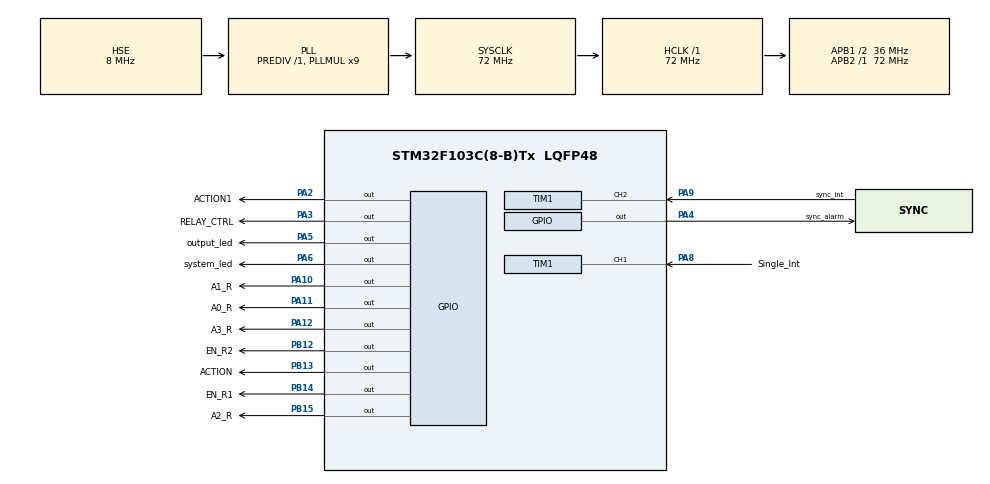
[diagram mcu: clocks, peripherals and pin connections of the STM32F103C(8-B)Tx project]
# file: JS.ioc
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Mcu.Family=STM32F1
Mcu.Name=STM32F103C(8-B)Tx
Mcu.Package=LQFP48
NVIC.PriorityGroup=NVIC_PRIORITYGROUP_4
NVIC.TIM1_CC_IRQn=true\:0\:0\:false\:false\:true\:true\:true\:true
NVIC.TIM1_UP_IRQn=true\:0\:0\:false\:false\:true\:true\:true\:true
NVIC.TIM2_IRQn=true\:0\:0\:false\:false\:true\:true\:true\:true
PA10.GPIO_Label=A1_R
PA10.GPIO_ModeDefaultOutputPP=GPIO_MODE_OUTPUT_OD
PA10.GPIO_PuPd=GPIO_NOPULL
PA10.GPIO_Speed=GPIO_SPEED_FREQ_HIGH
PA10.Signal=GPIO_Output
PA11.GPIO_Label=A0_R
PA11.GPIO_ModeDefaultOutputPP=GPIO_MODE_OUTPUT_OD
PA11.GPIO_PuPd=GPIO_NOPULL
PA11.GPIO_Speed=GPIO_SPEED_FREQ_HIGH
PA11.Signal=GPIO_Output
PA12.GPIO_Label=A3_R
PA12.GPIO_ModeDefaultOutputPP=GPIO_MODE_OUTPUT_OD
PA12.GPIO_PuPd=GPIO_NOPULL
PA12.GPIO_Speed=GPIO_SPEED_FREQ_HIGH
PA12.Signal=GPIO_Output
PA13.Mode=Serial_Wire
PA13.Signal=SYS_JTMS-SWDIO
PA14.Mode=Serial_Wire
PA14.Signal=SYS_JTCK-SWCLK
PA2.GPIO_Label=ACTION1
PA2.GPIO_Speed=GPIO_SPEED_FREQ_HIGH
PA2.Signal=GPIO_Output
PA3.GPIO_Label=RELAY_CTRL
PA3.GPIO_Speed=GPIO_SPEED_FREQ_HIGH
PA3.Signal=GPIO_Output
PA4.GPIO_Label=sync_alarm
PA4.GPIO_ModeDefaultOutputPP=GPIO_MODE_OUTPUT_PP
PA4.GPIO_PuPd=GPIO_PULLUP
PA4.GPIO_Speed=GPIO_SPEED_FREQ_HIGH
PA4.PinState=GPIO_PIN_SET
PA4.Signal=GPIO_Output
PA5.GPIO_Label=output_led
PA5.GPIO_Speed=GPIO_SPEED_FREQ_HIGH
PA5.PinState=GPIO_PIN_SET
PA5.Signal=GPIO_Output
PA6.GPIO_Label=system_led
PA6.GPIO_PuPd=GPIO_PULLUP
PA6.GPIO_Speed=GPIO_SPEED_FREQ_HIGH
PA6.PinState=GPIO_PIN_SET
PA6.Signal=GPIO_Output
PA8.GPIO_Label=Single_Int
PA8.Signal=S_TIM1_CH1
PA9.GPIO_Label=sync_int
PA9.Signal=S_TIM1_CH2
PB12.GPIO_Label=EN_R2
PB12.GPIO_ModeDefaultOutputPP=GPIO_MODE_OUTPUT_OD
PB12.GPIO_PuPd=GPIO_NOPULL
PB12.GPIO_Speed=GPIO_SPEED_FREQ_HIGH
PB12.Signal=GPIO_Output
PB13.GPIO_Label=ACTION
PB13.GPIO_Speed=GPIO_SPEED_FREQ_HIGH
PB13.Signal=GPIO_Output
PB14.GPIO_Label=EN_R1
PB14.GPIO_ModeDefaultOutputPP=GPIO_MODE_OUTPUT_OD
PB14.GPIO_PuPd=GPIO_NOPULL
PB14.GPIO_Speed=GPIO_SPEED_FREQ_HIGH
PB14.Signal=GPIO_Output
PB15.GPIO_Label=A2_R
PB15.GPIO_ModeDefaultOutputPP=GPIO_MODE_OUTPUT_OD
PB15.GPIO_PuPd=GPIO_NOPULL
PB15.GPIO_Speed=GPIO_SPEED_FREQ_HIGH
PB15.Signal=GPIO_Output
PD0-OSC_IN.Mode=HSE-External-Oscillator
PD0-OSC_IN.Signal=RCC_OSC_IN
PD1-OSC_OUT.Mode=HSE-External-Oscillator
PD1-OSC_OUT.Signal=RCC_OSC_OUT
ProjectManager.HeapSize=0x200
ProjectManager.StackSize=0x400
ProjectManager.TargetToolchain=MDK-ARM V5.32
RCC.AHBFreq_Value=72000000
RCC.APB1CLKDivider=RCC_HCLK_DIV2
RCC.APB1Freq_Value=36000000
RCC.APB1TimFreq_Value=72000000
RCC.APB2Freq_Value=72000000
RCC.APB2TimFreq_Value=72000000
RCC.HCLKFreq_Value=72000000
RCC.PLLMUL=RCC_PLL_MUL9
RCC.PLLSourceVirtual=RCC_PLLSOURCE_HSE
RCC.SYSCLKFreq_VALUE=72000000
RCC.SYSCLKSource=RCC_SYSCLKSOURCE_PLLCLK
RCC.USBFreq_Value=72000000
SH.S_TIM1_CH1.0=TIM1_CH1,Input_Capture1_from_TI1
SH.S_TIM1_CH2.0=TIM1_CH2,Input_Capture2_from_TI2
TIM1.AutoReloadPreload=TIM_AUTORELOAD_PRELOAD_ENABLE
TIM1.Channel-Input_Capture1_from_TI1=TIM_CHANNEL_1
TIM1.Channel-Input_Capture2_from_TI2=TIM_CHANNEL_2
TIM1.Prescaler=72-1
TIM2.AutoReloadPreload=TIM_AUTORELOAD_PRELOAD_ENABLE
TIM2.CounterMode=TIM_COUNTERMODE_UP
TIM2.Prescaler=72-1
VP_TIM1_VS_ClockSourceINT.Mode=Internal
VP_TIM2_VS_ClockSourceINT.Mode=Internal
board=custom

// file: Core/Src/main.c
/* USER CODE BEGIN Header */
/**
 ******************************************************************************
 * @file           : main.c
 * @brief          : Main program body
 ******************************************************************************
 * @attention
 *
 * Copyright (c) 2024 STMicroelectronics.
 * All rights reserved.
 *
 * This software is licensed under terms that can be found in the LICENSE file
 * in the root directory of this software component.
 * If no LICENSE file comes with this software, it is provided AS-IS.
 *
 ******************************************************************************
 */
/* USER CODE END Header */
#include "main.h"
#include "tim.h"
#include "gpio.h"

void SystemClock_Config(void);

/* USER CODE BEGIN 0 */
/*同步信号*/
extern uint32_t Sync_capture_Buf[3]; // 存放计数值
extern uint8_t Sync_Cnt;             // 状态标志位
extern uint32_t Sync_high_time;      // 高电平时间

/*检测信号*/
extern uint32_t Signal_capture_Buf[3]; // 存放计数值
extern uint8_t Signal_Cnt;             // 状态标志位
extern uint32_t Signal_high_time;      // 高电平时间

float time;
float count = 0;
extern uint32_t duration;

extern uint16_t up_edge_cnt;
uint8_t count_flag = 0;

uint8_t i = 1;
extern __IO uint32_t uDelayValue;

static uint32_t fac_us = 0;
void EN_R1_open(void);
void EN_R2_open(void);
void delay_us(uint32_t us);

void EN_R1_R2_close(void);
/* USER CODE END 0 */

int main(void)
{

  /* MCU Configuration--------------------------------------------------------*/

  /* Reset of all peripherals, Initializes the Flash interface and the Systick. */
  HAL_Init();

  /* Configure the system clock */
  SystemClock_Config();

  /* Initialize all configured peripherals */
  MX_GPIO_Init();
  MX_TIM1_Init();
  MX_TIM2_Init();
  /* USER CODE BEGIN 2 */
  //	HAL_TIM_IC_Start_IT(&htim1,TIM_CHANNEL_2);
  HAL_TIM_Base_Start(&htim2);

  /* USER CODE END 2 */

  /* Infinite loop */
  /* USER CODE BEGIN WHILE */
  while (1)
  {
    //		HAL_GPIO_TogglePin(EN_R1_GPIO_Port,EN_R1_Pin);
    //		delay_us(100);
    //	EN_R1_open();
    //		delay_us(10);
    //		EN_R2_open();
    //		delay_us(10);
    switch (Sync_Cnt)
    {
    case 0:
      Sync_Cnt++;
      __HAL_TIM_SET_CAPTUREPOLARITY(&htim1, TIM_CHANNEL_2, TIM_INPUTCHANNELPOLARITY_RISING);
      HAL_TIM_IC_Start_IT(&htim1, TIM_CHANNEL_2); // 启动输入捕获       或者: __HAL_TIM_ENABLE(&htim5);
      break;
    case 3:
      if (Sync_capture_Buf[1] < Sync_capture_Buf[0])
      { // 不存在先捕获高电平后捕获低电平capture_Buf[1]<capture_Buf[0],肯定是有了溢出
        Sync_high_time = 0xC350 + Sync_capture_Buf[1] - Sync_capture_Buf[0];
      }
      else
      {
        Sync_high_time = Sync_capture_Buf[1] - Sync_capture_Buf[0]; // 高电平时间
      }

      Sync_Cnt = 0;
      if (Sync_high_time == 0x1B)
      {
        Sync_Cnt = 5;
        // count_flag=1;
        EN_R1_open();
        delay_us(1); // 延时一微秒后进行切换
        for (i = 1; i <= 16; i++)
        {

          Channel_Sel(i);
          delay_us(8);
          if (i == 8)
          {
            EN_R2_open();
          }
          if (i == 16)
          {
            EN_R1_R2_close();
            Sync_Cnt = 0;
          }
        }
        //		up_edge_cnt=0;
        //		__HAL_TIM_SET_CAPTUREPOLARITY(&htim1, TIM_CHANNEL_2, TIM_INPUTCHANNELPOLARITY_RISING);
        //		HAL_TIM_IC_Start_IT(&htim1, TIM_CHANNEL_2);
      }
      break;
    }
    //	HAL_GPIO_TogglePin(GPIOA,GPIO_PIN_11);
    //	delay_us(10);
  }
  /* USER CODE END WHILE */

}

void SystemClock_Config(void)
{
  RCC_OscInitTypeDef RCC_OscInitStruct = {0};
  RCC_ClkInitTypeDef RCC_ClkInitStruct = {0};

  /** Initializes the RCC Oscillators according to the specified parameters
   * in the RCC_OscInitTypeDef structure.
   */
  RCC_OscInitStruct.OscillatorType = RCC_OSCILLATORTYPE_HSE;
  RCC_OscInitStruct.HSEState = RCC_HSE_ON;
  RCC_OscInitStruct.HSEPredivValue = RCC_HSE_PREDIV_DIV1;
  RCC_OscInitStruct.HSIState = RCC_HSI_ON;
  RCC_OscInitStruct.PLL.PLLState = RCC_PLL_ON;
  RCC_OscInitStruct.PLL.PLLSource = RCC_PLLSOURCE_HSE;
  RCC_OscInitStruct.PLL.PLLMUL = RCC_PLL_MUL9;
  if (HAL_RCC_OscConfig(&RCC_OscInitStruct) != HAL_OK)
  {
    Error_Handler();
  }

  /** Initializes the CPU, AHB and APB buses clocks
   */
  RCC_ClkInitStruct.ClockType = RCC_CLOCKTYPE_HCLK | RCC_CLOCKTYPE_SYSCLK | RCC_CLOCKTYPE_PCLK1 | RCC_CLOCKTYPE_PCLK2;
  RCC_ClkInitStruct.SYSCLKSource = RCC_SYSCLKSOURCE_PLLCLK;
  RCC_ClkInitStruct.AHBCLKDivider = RCC_SYSCLK_DIV1;
  RCC_ClkInitStruct.APB1CLKDivider = RCC_HCLK_DIV2;
  RCC_ClkInitStruct.APB2CLKDivider = RCC_HCLK_DIV1;

  if (HAL_RCC_ClockConfig(&RCC_ClkInitStruct, FLASH_LATENCY_2) != HAL_OK)
  {
    Error_Handler();
  }
}

/* USER CODE BEGIN 4 */
void EN_R1_open(void)
{
  HAL_GPIO_WritePin(EN_R1_GPIO_Port, EN_R1_Pin, GPIO_PIN_SET);
  HAL_GPIO_WritePin(EN_R2_GPIO_Port, EN_R2_Pin, GPIO_PIN_RESET);
}
void EN_R2_open(void)
{
  HAL_GPIO_WritePin(EN_R1_GPIO_Port, EN_R1_Pin, GPIO_PIN_RESET);
  HAL_GPIO_WritePin(EN_R2_GPIO_Port, EN_R2_Pin, GPIO_PIN_SET);
}
void EN_R1_R2_close(void)
{
  HAL_GPIO_WritePin(EN_R1_GPIO_Port, EN_R1_Pin, GPIO_PIN_RESET);
  HAL_GPIO_WritePin(EN_R2_GPIO_Port, EN_R2_Pin, GPIO_PIN_RESET);
}

// void HAL_Delay_us(uint32_t us) {
//     uint32_t start = SysTick->VAL;
//     uint32_t delayTicks = us * (SystemCoreClock / 1000000);

//    while ((SysTick->VAL - start) < delayTicks) {
//        // Wait until the difference between the current value and the start value is equal to delayTicks
//    }
//}
// void delay_us(uint32_t nus)
//{
//	uint32_t ticks;
//	uint32_t told,tnow,tcnt=0;
//	uint32_t reload=SysTick->LOAD;				//LOAD的值
//	ticks=nus*fac_us; 						//需要的节拍数
//	told=SysTick->VAL;        				//刚进入时的计数器值
//	while(1)
//	{
//		tnow=SysTick->VAL;
//		if(tnow!=told)
//		{
//			if(tnow<told)tcnt+=told-tnow;	//这里注意一下SYSTICK是一个递减的计数器就可以了.
//			else tcnt+=reload-tnow+told;
//			told=tnow;
//			if(tcnt>=ticks)break;			//时间超过/等于要延迟的时间,则退出.
//		}
//	}
//}
void delay_us(uint32_t us)
{
  //    HAL_TIM_Base_Start(&htim2); // 启动定时器
  //    __HAL_TIM_SET_COUNTER(&htim2, 0); // 将计数器清零
  //    while (__HAL_TIM_GET_COUNTER(&htim2) < us); // 等待计数器达到所需的微秒数
  //    HAL_TIM_Base_Stop(&htim2); // 停止定时器

  //	    HAL_TIM_Base_Start(&htim2); // 启动定时器
  //    __HAL_TIM_SET_COUNTER(&htim2, 0); // 将计数器清零
  //    while (1) {
  //        if (__HAL_TIM_GET_COUNTER(&htim2) >= us) {
  //            break; // 当计数器达到所需的微秒数时退出循环
  //        }
  //    }
  //    HAL_TIM_Base_Stop(&htim2); // 停止定时器
  __HAL_TIM_SET_COUNTER(&htim2, 0); // 将计数器值设置为0
  while (__HAL_TIM_GET_COUNTER(&htim2) < us)
    ; // 等待计数器达到指定的微秒数
}

// void delay_us(uint32_t us)
//{
//     uint32_t usTickStart = uwTick;
//     uint32_t ticksToWait = us * (SystemCoreClock / 1000000UL);

//    while ((uwTick - usTickStart) < ticksToWait)
//    {
//        /* 等待计数达到延时时间 */
//    }
//}
// void delay_us(uint32_t us)
//{
//    uint32_t start = get_time_us();
//    uint32_t expected = start + us;
//
//    /* 等待达到预期时间 */
//    while (get_time_us() < expected);
//}
/* USER CODE END 4 */

void Error_Handler(void)
{
  __disable_irq();
  while (1)
  {
  }
}
